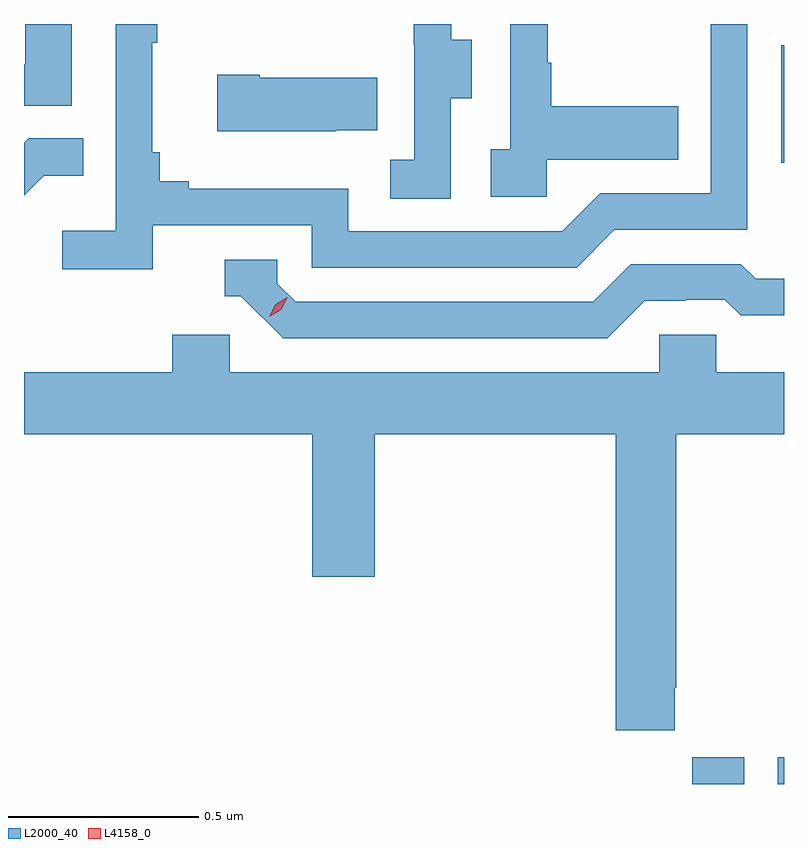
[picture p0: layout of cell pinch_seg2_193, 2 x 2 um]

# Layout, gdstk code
import gdstk
lib = gdstk.Library(unit=1e-6, precision=1e-09)
def R(c, l, rs):  # rectangles x0, y0, x1, y1
    for r in rs: c.add(gdstk.rectangle(r[:2], r[2:], *l))
def P(c, l, *ps):  # polygons
    for p in ps: c.add(gdstk.Polygon(p, *l))
L2000_40 = (2000, 40)
L4158_0 = (4158, 0)

pinch_seg2_193 = lib.new_cell('pinch_seg2_193')
R(pinch_seg2_193, L2000_40, [(1137.035,630.732,1137.172,630.802), (1137.26,630.732,1137.277,630.802), (1137.27,632.367,1137.277,632.676)])
P(pinch_seg2_193, L2000_40, [(1136.652,632.375),(1136.999,632.375),(1136.999,632.515),(1136.665,632.515),(1136.665,632.63),(1136.655,632.63),(1136.655,632.732),(1136.556,632.732),(1136.556,632.402),(1136.505,632.402),(1136.505,632.277),(1136.652,632.277)],
  [(1135.616,632.202),(1136.034,632.202),(1136.034,632.091),(1136.731,632.091),(1136.83,632.19),(1137.18,632.19),(1137.18,632.732),(1137.084,632.732),(1137.084,632.286),(1136.793,632.286),(1136.694,632.187),(1136.13,632.187),(1136.13,632.299),(1135.711,632.299),(1135.711,632.318),(1135.634,632.318),(1135.634,632.395),(1135.615,632.395),(1135.615,632.683),(1135.627,632.683),(1135.627,632.732),(1135.518,632.732),(1135.518,632.188),(1135.377,632.188),(1135.377,632.086),(1135.616,632.086)],
  [(1136.4,632.536),(1136.455,632.536),(1136.455,632.691),(1136.401,632.691),(1136.401,632.732),(1136.303,632.732),(1136.303,632.679),(1136.304,632.679),(1136.304,632.375),(1136.241,632.375),(1136.241,632.272),(1136.4,632.272)],
  [(1135.402,632.732),(1135.28,632.732),(1135.28,632.626),(1135.277,632.626),(1135.277,632.517),(1135.402,632.517)],
  [(1136.099,632.453),(1136.207,632.453),(1136.207,632.59),(1135.897,632.59),(1135.897,632.598),(1135.785,632.598),(1135.785,632.45),(1136.099,632.45)],
  [(1135.329,632.333),(1135.433,632.333),(1135.433,632.432),(1135.29,632.432),(1135.277,632.419),(1135.277,632.281)],
  [(1136.911,632.004),(1137.018,632.004),(1137.018,632.007),(1137.121,632.007),(1137.163,631.965),(1137.277,631.965),(1137.277,632.061),(1137.202,632.061),(1137.163,632.1),(1136.874,632.1),(1136.775,632.001),(1135.992,632.001),(1135.944,632.049),(1135.944,632.112),(1135.805,632.112),(1135.805,632.016),(1135.848,632.016),(1135.959,631.905),(1136.812,631.905)],
  [(1136.989,630.985),(1136.994,630.985),(1136.994,631.652),(1137.277,631.652),(1137.277,631.816),(1137.099,631.816),(1137.099,631.914),(1136.949,631.914),(1136.949,631.816),(1135.818,631.816),(1135.818,631.914),(1135.667,631.914),(1135.667,631.816),(1135.277,631.816),(1135.277,631.652),(1136.036,631.652),(1136.036,631.278),(1136.2,631.278),(1136.2,631.652),(1136.834,631.652),(1136.834,630.873),(1136.989,630.873)])
P(pinch_seg2_193, L4158_0, [(1135.923,631.961),(1135.923,631.961),(1135.939,631.994),(1135.97,632.013),(1135.97,632.013),(1135.97,632.013),(1135.954,631.98),(1135.923,631.961)])

lib.write_gds('pinch_seg2_193.gds')
